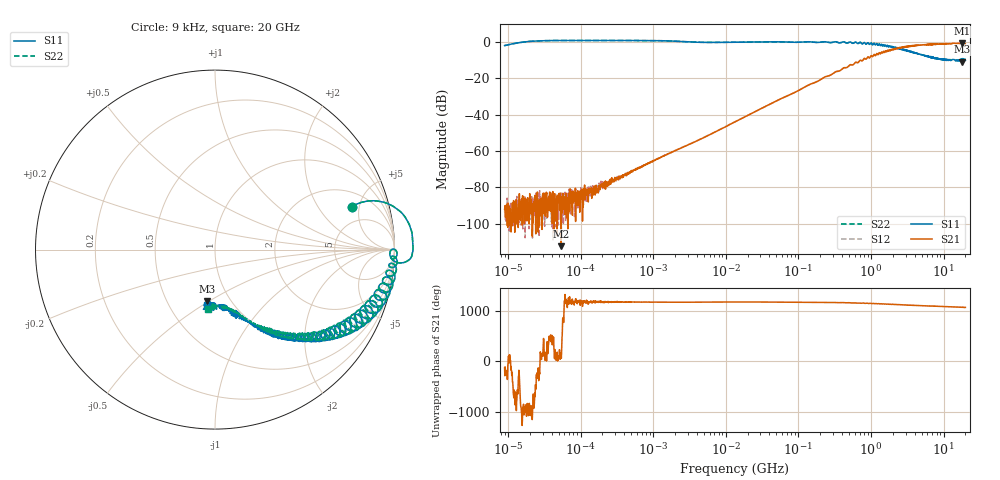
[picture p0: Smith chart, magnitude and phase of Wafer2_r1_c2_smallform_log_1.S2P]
!  2-Port S-parameters saved by WinCal
! VAR MeasName=S-Parameters (CALIBRATED_DATA) read from VNA (P5004A)
! VAR MeasDate=26/04/2024 18:50:06
! VAR NAME=Wafer2_r1_c2_smallform_log
! VAR FILENAME=Wafer2_r1_c2_smallform_log_1.S2P
! VAR DATE=26/04/2024 18:50:06
! VAR PHYS_PORTS=1,2
! VAR ObjTypeName=DATASET
! VAR IndexType=Frequency
# Hz S MA R 50
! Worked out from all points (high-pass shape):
!   2000 points, 9 kHz to 20 GHz, reference 50 ohm
!   highest |S21| = -0.65 dB at 18.05 GHz (marker M1); lowest = -112.5 dB at 53.97 kHz (marker M2)
!   |S21| within 3 dB of the highest: 2.255 GHz to 2.324 GHz (68.07 MHz wide, 2.97 % of centre); 2.339 GHz to end of sweep (the widest 2 of 4)
!   lowest |S11| = -10.8 dB at 18.19 GHz (marker M3), VSWR 1.82, Z = 39.1 - j24.4 ohm
!   |S11| at or under -10 dB: 12.22 GHz to 12.85 GHz (626.3 MHz wide, 5 % of centre); 14.37 GHz to 15.19 GHz (820.3 MHz wide, 5.55 % of centre); 15.45 GHz to 15.93 GHz (486.8 MHz wide, 3.1 % of centre) (the widest 3 of 17)
!   |S22| runs from -10.4 to 0.9 dB; largest |S21 - S12| = 0.037
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9000  0.7977 17.3  2.471e-05 -126.3  2.045e-05 -61.1  0.7978 17.3
12971.54  0.9312 17.0  2.67e-05 -107.6  4.584e-05 -160.3  0.9311 17.0
20261.21  1.043 12.3  2.018e-05 142.3  2.332e-05 106.2  1.043 12.3
53965.09  1.101 4.3  2.377e-06 169.5  6.969e-05 115.7  1.101 4.3
103439.5  1.102 2.1  5.721e-05 109.9  7.452e-05 86.5  1.102 2.1
166364.3  1.103 1.1  7.181e-05 99.3  8.967e-05 65.7  1.103 1.1
226156.6  1.103 0.6  0.0001176 83.9  0.0001122 92.7  1.103 0.6
1180198  1.09 -2.6  0.0006141 86.4  0.0006209 86.1  1.09 -2.6
4530556  0.9807 -2.6  0.002124 86.7  0.002148 86.7  0.9807 -2.6
1.346554e7  0.986 0.1  0.006312 89.2  0.006391 88.7  0.9861 0.1
1.105652e8  0.9951 -2.2  0.05099 86.5  0.05136 86.0  0.9947 -2.2
1.536358e8  1 -5.6  0.07152 82.6  0.07085 82.8  1.001 -5.5
2.966476e8  0.982 -6.8  0.1329 81.2  0.1342 81.1  0.9819 -6.7
7.506948e8  0.8952 -21.2  0.3025 66.1  0.3018 66.2  0.8969 -20.8
1.752917e9  0.7393 -37.9  0.5613 47.7  0.5642 47.6  0.7389 -37.5
2.860783e9  0.6219 -50.6  0.7339 33.5  0.7383 33.2  0.6199 -49.9
5.364551e9  0.4306 -67.1  0.8416 15.3  0.8395 15.0  0.4295 -65.1
9.488158e9  0.3359 -81.1  0.889 1.3  0.8791 1.1  0.3348 -76.8
1.347662e10  0.3308 -88.2  0.9219 -6.0  0.9176 -6.9  0.3149 -85.9
1.805428e10  0.3484 -98.3  0.9276 -14.7  0.9009 -16.3  0.3015 -92.3
1.818676e10  0.2896 -98.8  0.8827 -16.2  0.8709 -14.1  0.3309 -91.3
2e10  0.3122 -98.0  0.8833 -17.1  0.8967 -16.4  0.3338 -96.3
